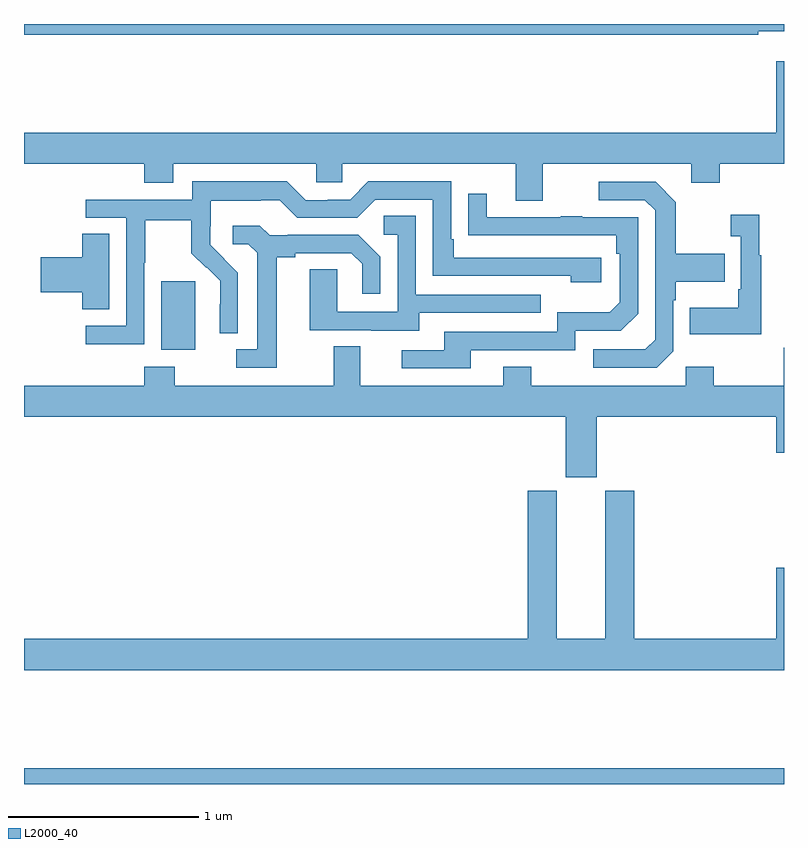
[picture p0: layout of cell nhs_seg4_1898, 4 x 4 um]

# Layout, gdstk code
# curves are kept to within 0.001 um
import gdstk
lib = gdstk.Library(unit=1e-6, precision=1e-09)
def R(c, l, rs):  # rectangles x0, y0, x1, y1
    for r in rs: c.add(gdstk.rectangle(r[:2], r[2:], *l))
def P(c, l, *ps):  # polygons
    for p in ps: c.add(gdstk.Polygon(p, *l))
L2000_40 = (2000, 40)

nhs_seg4_1898 = lib.new_cell('nhs_seg4_1898')
R(nhs_seg4_1898, L2000_40, [(209,782.9,213,782.984), (209.723,785.186,209.902,785.547)])
P(nhs_seg4_1898, L2000_40, [(212.864,786.863),(213,786.863),(213,786.9),(209,786.9),(209,786.844),(212.864,786.844)],
  [(211.729,786.164),(212.513,786.164),(212.513,786.065),(212.661,786.065),(212.661,786.164),(213,786.164),(213,786.703),(212.96,786.703),(212.96,786.328),(209,786.328),(209,786.164),(209.633,786.164),(209.633,786.065),(209.785,786.065),(209.785,786.164),(210.537,786.164),(210.537,786.066),(210.675,786.066),(210.675,786.164),(211.589,786.164),(211.589,785.97),(211.729,785.97)],
  [(209.634,785.644),(209.637,785.644),(209.637,785.868),(209.881,785.868),(209.881,785.693),(209.958,785.616),(209.961,785.619),(210.032,785.549),(210.032,785.426),(210.03,785.426),(210.03,785.272),(210.126,785.272),(210.126,785.59),(209.98,785.738),(209.98,785.835),(209.982,785.835),(209.982,785.969),(210.245,785.969),(210.245,785.973),(210.345,785.973),(210.438,785.88),(210.753,785.88),(210.849,785.976),(211.152,785.976),(211.152,785.574),(211.877,785.574),(211.877,785.54),(212.038,785.54),(212.038,785.67),(211.261,785.67),(211.261,785.767),(211.248,785.767),(211.248,786.072),(210.813,786.072),(210.717,785.976),(210.599,785.976),(210.599,785.973),(210.483,785.973),(210.383,786.073),(209.886,786.073),(209.886,785.976),(209.325,785.976),(209.325,785.88),(209.538,785.88),(209.538,785.313),(209.325,785.313),(209.325,785.215),(209.634,785.215)],
  [(212.418,785.178),(212.418,785.447),(212.431,785.447),(212.431,785.543),(212.687,785.543),(212.687,785.691),(212.431,785.691),(212.431,785.963),(212.325,786.069),(212.025,786.069),(212.025,785.973),(212.268,785.973),(212.322,785.919),(212.322,785.238),(212.271,785.187),(211.995,785.187),(211.995,785.091),(212.331,785.091)],
  [(211.351,785.184),(211.902,785.184),(211.902,785.286),(212.142,785.286),(212.232,785.376),(212.232,785.883),(211.937,785.883),(211.937,785.888),(211.825,785.888),(211.825,785.883),(211.435,785.883),(211.435,786.007),(211.339,786.007),(211.339,785.788),(212.116,785.787),(212.116,785.69),(212.136,785.69),(212.136,785.436),(212.083,785.383),(211.806,785.383),(211.806,785.28),(211.211,785.28),(211.211,785.184),(210.987,785.184),(210.987,785.088),(211.351,785.088)],
  [(212.881,785.683),(212.869,785.683),(212.869,785.896),(212.721,785.896),(212.721,785.783),(212.772,785.783),(212.772,785.503),(212.76,785.503),(212.76,785.407),(212.503,785.407),(212.503,785.267),(212.881,785.267)],
  [(211.081,785.379),(211.721,785.379),(211.721,785.475),(211.062,785.475),(211.062,785.891),(210.894,785.891),(210.894,785.79),(210.966,785.79),(210.966,785.385),(210.648,785.385),(210.648,785.609),(210.503,785.609),(210.503,785.289),(210.827,785.289),(210.827,785.285),(211.081,785.285)],
  [(210.331,785.672),(210.427,785.672),(210.427,785.694),(210.722,785.694),(210.779,785.637),(210.779,785.481),(210.876,785.481),(210.876,785.674),(210.76,785.79),(210.388,785.79),(210.388,785.787),(210.294,785.787),(210.242,785.839),(210.099,785.839),(210.099,785.742),(210.18,785.742),(210.227,785.695),(210.227,785.187),(210.117,785.187),(210.117,785.091),(210.331,785.091)],
  [(209.449,785.795),(209.306,785.795),(209.306,785.672),(209.088,785.672),(209.088,785.489),(209.306,785.489),(209.306,785.398),(209.449,785.398)],
  [(212.014,784.832),(212.96,784.832),(212.96,784.644),(213,784.644),(213,785.195),(212.998,785.195),(212.998,784.996),(212.631,784.996),(212.631,785.095),(212.484,785.095),(212.484,784.996),(211.671,784.996),(211.671,785.095),(211.523,785.095),(211.523,784.996),(210.769,784.996),(210.769,785.204),(210.629,785.204),(210.629,784.996),(209.793,784.996),(209.793,785.095),(209.633,785.095),(209.633,784.996),(209,784.996),(209,784.832),(211.85,784.832),(211.85,784.515),(212.014,784.515)],
  [(213,784.039),(212.96,784.039),(212.96,783.664),(212.213,783.664),(212.213,784.443),(212.06,784.443),(212.06,783.664),(211.804,783.664),(211.804,784.443),(211.652,784.443),(211.652,783.664),(209,783.664),(209,783.5),(213,783.5)])

lib.write_gds('nhs_seg4_1898.gds')
